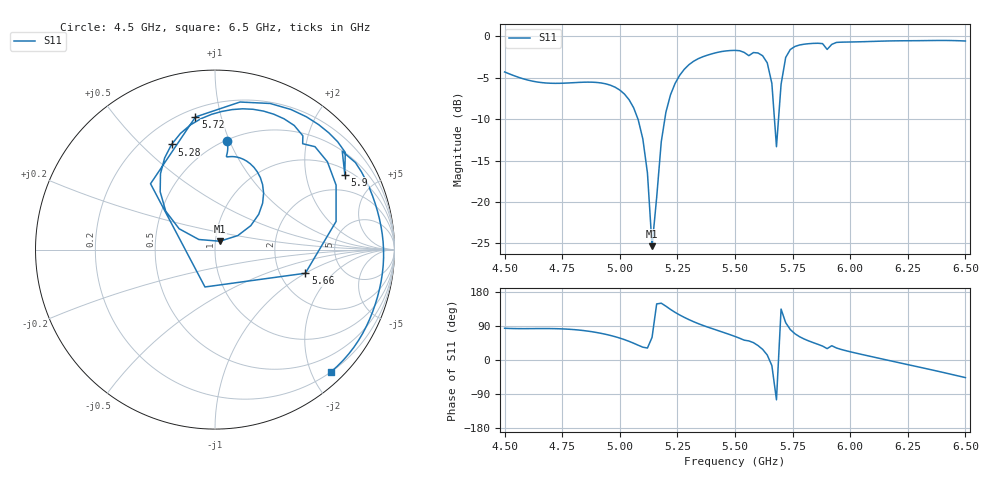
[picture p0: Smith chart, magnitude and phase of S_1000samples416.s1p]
! TOUCHSTONE file generated by CST MICROWAVE STUDIO
! Date and time: Fri Oct 28 02:40:59 2022
! Project name: L.cst
! Parameters = {Di=1.27; Epsilon_r=1.56; InnerDiameter=1.27; Length=2; Lf=10; Lg=60; OuterConductorThickness=0.2921; OuterDiameter=3.6; Wf=3; Wp=41.2; de=1.5; df=6.8; g=0.8; gx=1.55768; gy=3.83563; h=2.34; hf=1.524; px=14.7555; py=12.8291; w=9.7; wx=13.1978; wy=8.99345}
! Header version: 2018
! Port assignment regex: !\s*Touchstone port\s*([0-9]+)\s*=\s*(CST MWS port|CST DS port)\s*([0-9]+|Zmin|Zmax)\s*\(\"(.*)\"\)(\s*mode\s*([0-9]+))?.*
! Touchstone port assignment:
! Touchstone port 1 = CST MWS port 1 ("")
# GHz S DB R 50
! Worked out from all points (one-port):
!   101 points, 4.5 GHz to 6.5 GHz, reference 50 ohm
!   lowest |S11| = -25.4 dB at 5.14 GHz (marker M1), VSWR 1.11, Z = 52.6 + j4.92 ohm
!   |S11| at or under -10 dB: 5.079 GHz to 5.195 GHz (116.4 MHz wide, 2.27 % of centre); 5.671302 GHz to 5.68883 GHz (17.53 MHz wide, 0.309 % of centre)
!   S11 on the Smith chart (normalised r, x): 4.5 GHz: 0.51, +0.98; 5.28 GHz: 0.32, +0.62; 5.66 GHz: 2.76, -1.00; 5.72 GHz: 0.25, +0.83; 5.9 GHz: 1.20, +3.33; 6.5 GHz: 0.20, -2.32
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4.5  -4.29 83.7
4.76  -5.64 81.8
4.9  -5.56 72.5
5  -6.48 57.8
5.06  -8.62 44.3
5.1  -12.40 33.8
5.12  -16.51 31.6
5.14  -25.36 59.7
5.18  -12.72 149.8
5.2  -9.17 142.1
5.26  -4.69 118.8
5.28  -3.96 112.4
5.38  -2.26 87.2
5.5  -1.68 62.1
5.6  -2.00 38.0
5.64  -3.19 13.1
5.66  -5.68 -14.7
5.68  -13.33 -105.0
5.7  -5.79 134.4
5.72  -2.53 98.4
5.76  -1.21 69.3
5.82  -0.87 50.3
5.88  -0.86 36.7
5.9  -1.56 30.0
5.92  -0.95 37.7
6  -0.67 21.8
6.26  -0.51 -13.5
6.5  -0.54 -46.5
